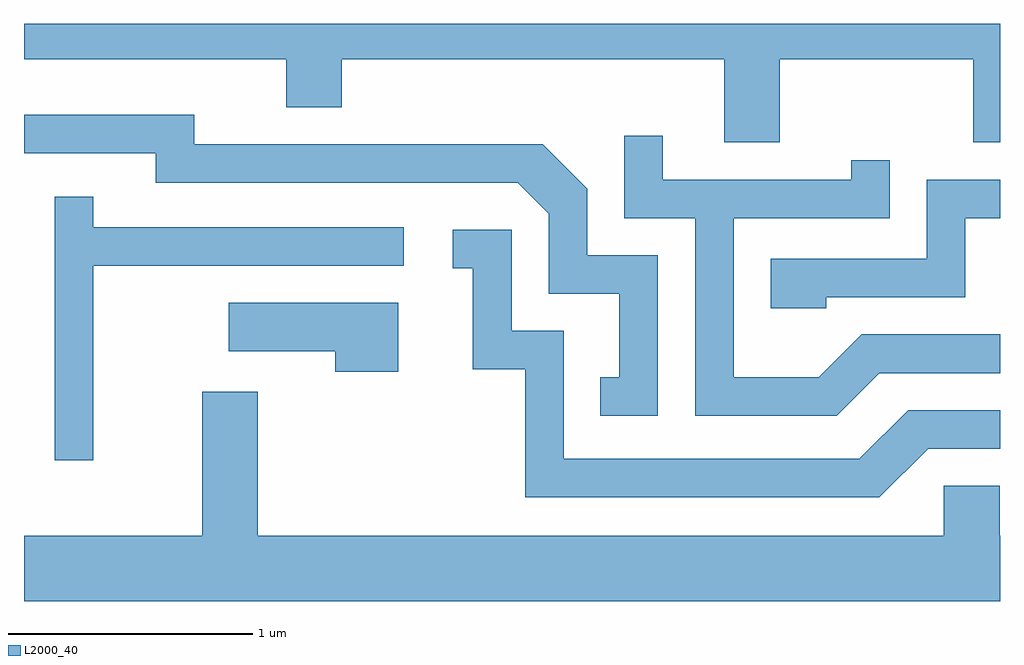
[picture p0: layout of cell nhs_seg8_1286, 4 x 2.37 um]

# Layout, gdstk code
import gdstk
lib = gdstk.Library(unit=1e-6, precision=1e-09)
def P(c, l, *ps):  # polygons
    for p in ps: c.add(gdstk.Polygon(p, *l))
L2000_40 = (2000, 40)

nhs_seg8_1286 = lib.new_cell('nhs_seg8_1286')
P(nhs_seg8_1286, L2000_40, [(226.709,1834.196),(227.501,1834.196),(227.501,1833.856),(227.611,1833.856),(227.611,1834.342),(223.611,1834.342),(223.611,1834.196),(224.686,1834.196),(224.686,1834.001),(224.914,1834.001),(224.914,1834.196),(226.481,1834.196),(226.481,1833.856),(226.709,1833.856)],
  [(226.209,1833.394),(225.919,1833.394),(225.919,1833.667),(225.737,1833.849),(224.309,1833.849),(224.309,1833.969),(223.611,1833.969),(223.611,1833.811),(224.151,1833.811),(224.151,1833.691),(225.634,1833.691),(225.761,1833.564),(225.761,1833.236),(226.051,1833.236),(226.051,1832.894),(225.973,1832.894),(225.973,1832.736),(226.209,1832.736)],
  [(227.117,1832.911),(227.611,1832.911),(227.611,1833.069),(227.044,1833.069),(226.869,1832.894),(226.519,1832.894),(226.519,1833.546),(227.159,1833.546),(227.159,1833.783),(227.001,1833.783),(227.001,1833.704),(226.229,1833.704),(226.229,1833.883),(226.071,1833.883),(226.071,1833.546),(226.361,1833.546),(226.361,1832.736),(226.942,1832.736)],
  [(226.899,1833.221),(227.469,1833.221),(227.469,1833.546),(227.611,1833.546),(227.611,1833.704),(227.311,1833.704),(227.311,1833.379),(226.671,1833.379),(226.671,1833.176),(226.899,1833.176)],
  [(223.894,1833.351),(225.168,1833.351),(225.168,1833.509),(223.894,1833.509),(223.894,1833.633),(223.736,1833.633),(223.736,1832.553),(223.894,1832.553)],
  [(227.317,1832.601),(227.611,1832.601),(227.611,1832.759),(227.234,1832.759),(227.034,1832.559),(225.824,1832.559),(225.824,1833.084),(225.609,1833.084),(225.609,1833.499),(225.368,1833.499),(225.368,1833.341),(225.451,1833.341),(225.451,1832.926),(225.666,1832.926),(225.666,1832.401),(227.117,1832.401)],
  [(225.144,1833.199),(224.451,1833.199),(224.451,1833.001),(224.886,1833.001),(224.886,1832.916),(225.144,1832.916)],
  [(227.611,1832.244),(227.609,1832.244),(227.609,1832.449),(227.381,1832.449),(227.381,1832.244),(224.569,1832.244),(224.569,1832.834),(224.341,1832.834),(224.341,1832.244),(223.611,1832.244),(223.611,1831.976),(227.611,1831.976)])

lib.write_gds('nhs_seg8_1286.gds')
